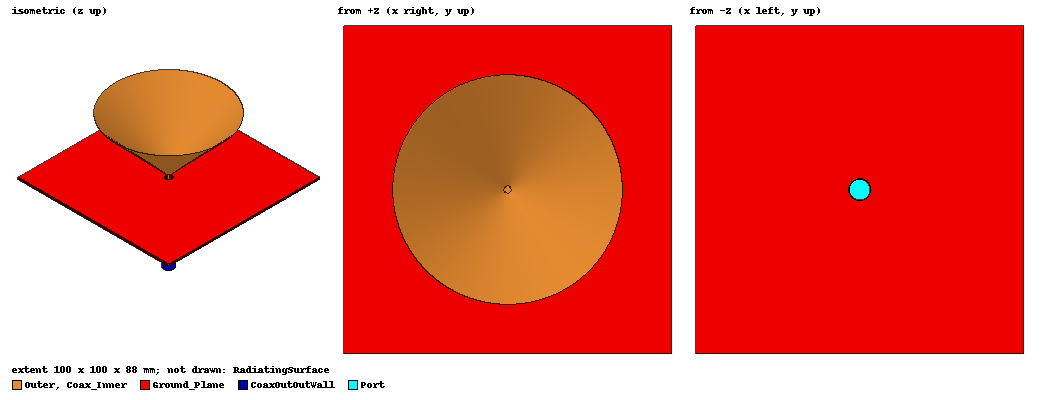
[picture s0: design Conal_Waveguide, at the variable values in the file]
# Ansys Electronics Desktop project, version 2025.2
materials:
  vacuum: permittivity=1
  copper: permeability=0.999991 conductivity=58000000

design Conal_Waveguide (HFSS, HFSS Modal Network, model units mm)
options: open_region{BoundaryType=0 OpFreq=3GHz}
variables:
  ConeRadius = 35mm
  ConeHeight = 35mm
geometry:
  RadiatingSurface [vacuum] = region(absolute_offset=33.333333mm on all sides)
  Inner = cone(axis=Z, base_centre=(0mm, 0mm, 3.1mm), bottom_radius=1mm, top_radius=ConeRadius, height=ConeHeight)
  Outer [copper] = cone(axis=Z, base_centre=(0mm, 0mm, 3mm), bottom_radius=1mm, top_radius=ConeRadius, height=ConeHeight)
  Outer.subtract(Inner)
  Coax_Inner [copper] = cylinder(axis=Z, base_centre=(0mm, 0mm, -50mm), radius=1mm, height=53mm)
  Ground_Plane [copper] = box(corner=(-50mm, -50mm, 0mm), size=(100mm, 100mm, 1mm))
  Cylinder2 = cylinder(axis=Z, base_centre=(0mm, 0mm, 0mm), radius=2.13mm, height=2mm)
  Ground_Plane.subtract(Cylinder2)
  CoaxOutOutWall [copper] = cylinder(axis=Z, base_centre=(0mm, 0mm, 0mm), radius=3.3mm, height=-50mm)
  CoaxOutInWall = cylinder(axis=Z, base_centre=(0mm, 0mm, 0mm), radius=2.3mm, height=-50mm)
  CoaxOutOutWall.subtract(CoaxOutInWall)
  Port = circle(normal=Z, centre=(0mm, 0mm, -50mm), radius=3.2mm)
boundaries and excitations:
  AutoOpen1: Radiation Objects=RadiatingSurface
  1: Lumped Port Objects=Port LumpedPortType=Default Modes{Mode1{IntLine{(0, 0, -50) -> (3000mm, -500mm, -50000mm)} CharImp=Zpi}} Impedance=50ohm
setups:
  Auto1: HfssDriven Frequency=3GHz MaxDeltaS=0.02 MaximumPasses=8 MinimumPasses=1 MinimumConvergedPasses=1 PercentRefinement=30 BasisOrder=1 PortAccuracy=2 DrivenSolverType="Direct Solver"
    sweep Sweep: 1GHz to 5GHz, 401 points; Type=Interpolating InterpTolerance=0.5 InterpMaxSolns=250 InterpUsePortImped=false PassivityErrorTolerance=0.0001
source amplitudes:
  1:1: 1W 0deg
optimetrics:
  ParametricSetup1: Parametric Sim._Setups=[Auto1]
    sweep ConeRadius: LIN 15mm 35mm 5mm
    sweep ConeHeight: LIN 15mm 35mm 5mm
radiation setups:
  3D: Infinite Sphere Theta=0deg..180deg step 2deg Phi=-180deg..180deg step 2deg
  Elevation: Infinite Sphere Theta=-180deg..180deg step 1deg Phi=0deg..90deg step 90deg
  Azimuth: Infinite Sphere Theta=90deg..90deg step 0deg Phi=-180deg..180deg step 1deg
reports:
  3D Gain: GainTotal vs Phi, Theta on Auto1 : LastAdaptive, 3D [Freq=3GHz]
  E-plane_PHI90: dB(rEPhi), dB(rETheta) vs Theta on Auto1 : LastAdaptive, Elevation [Phi=90deg Freq=3GHz]
  H-Plane: dB(rEPhi), dB(rETheta) vs Phi on Auto1 : LastAdaptive, Azimuth [Theta=90deg Freq=3GHz]
  Gain Plot3: GainTotal vs Phi, Theta on Auto1 : LastAdaptive, 3D [Freq=3GHz ConeRadius=15mm ConeHeight=25mm]
  Gain Plot4: GainTotal, GainTotal vs Phi, Theta on Auto1 : LastAdaptive, Elevation
  S Parameter Plot1: dB(S(1,1)) vs Freq on Auto1 : Sweep [ConeRadius=15mm,20mm,25mm,30mm,35mm ConeHeight=15mm,20mm,25mm,30mm,35mm]
  E-Plane 15x15: dB(rEPhi), dB(rETheta) vs Theta on Auto1 : LastAdaptive, Elevation [Phi=90deg Freq=3GHz ConeRadius=15mm ConeHeight=15mm]
  H-Plane 15x15: dB(rEPhi), dB(rETheta) vs Phi on Auto1 : LastAdaptive, Azimuth [Theta=all Freq=3GHz ConeRadius=15mm ConeHeight=15mm]
  Gain Plot5: GainTotal vs Phi, Theta on Auto1 : LastAdaptive, 3D [Freq=3GHz ConeRadius=35mm ConeHeight=35mm]
